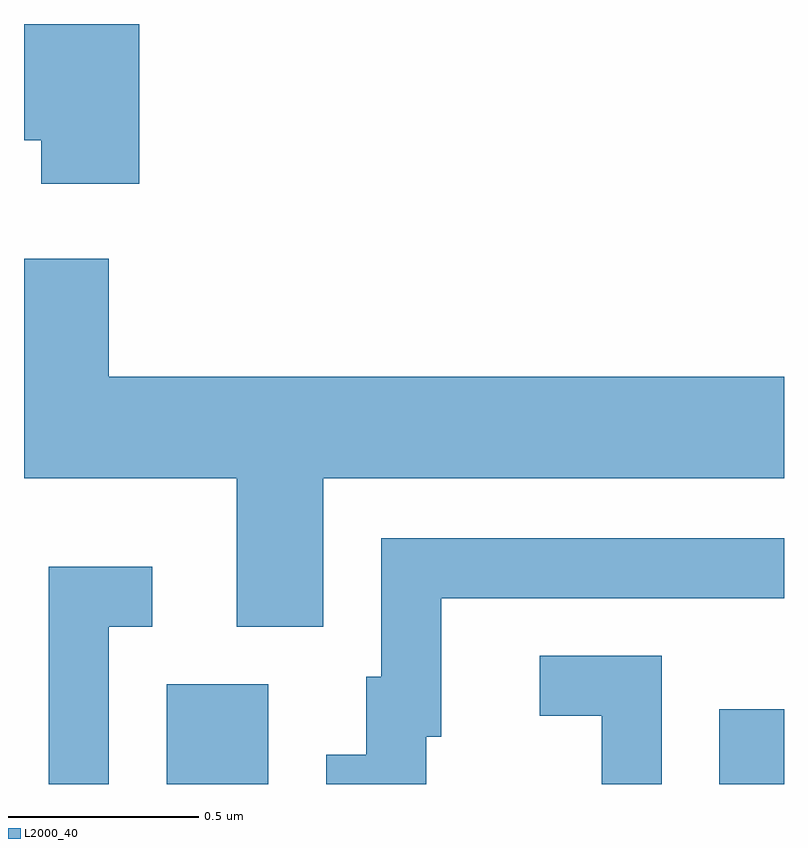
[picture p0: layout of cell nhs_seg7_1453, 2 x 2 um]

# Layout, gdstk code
import gdstk
lib = gdstk.Library(unit=1e-6, precision=1e-09)
def R(c, l, rs):  # rectangles x0, y0, x1, y1
    for r in rs: c.add(gdstk.rectangle(r[:2], r[2:], *l))
def P(c, l, *ps):  # polygons
    for p in ps: c.add(gdstk.Polygon(p, *l))
L2000_40 = (2000, 40)

nhs_seg7_1453 = lib.new_cell('nhs_seg7_1453')
R(nhs_seg7_1453, L2000_40, [(195.986,1751.252,196.254,1751.514), (197.441,1751.252,197.611,1751.449)])
P(nhs_seg7_1453, L2000_40, [(195.914,1753.252),(195.611,1753.252),(195.611,1752.946),(195.656,1752.946),(195.656,1752.831),(195.914,1752.831)],
  [(196.399,1752.056),(197.611,1752.056),(197.611,1752.324),(195.834,1752.324),(195.834,1752.634),(195.611,1752.634),(195.611,1752.056),(196.171,1752.056),(196.171,1751.666),(196.399,1751.666)],
  [(196.669,1751.376),(196.709,1751.376),(196.709,1751.741),(197.611,1751.741),(197.611,1751.899),(196.551,1751.899),(196.551,1751.534),(196.511,1751.534),(196.511,1751.329),(196.406,1751.329),(196.406,1751.252),(196.669,1751.252)],
  [(195.834,1751.666),(195.948,1751.666),(195.948,1751.824),(195.676,1751.824),(195.676,1751.252),(195.834,1751.252)],
  [(197.289,1751.589),(196.968,1751.589),(196.968,1751.431),(197.131,1751.431),(197.131,1751.252),(197.289,1751.252)])

lib.write_gds('nhs_seg7_1453.gds')
